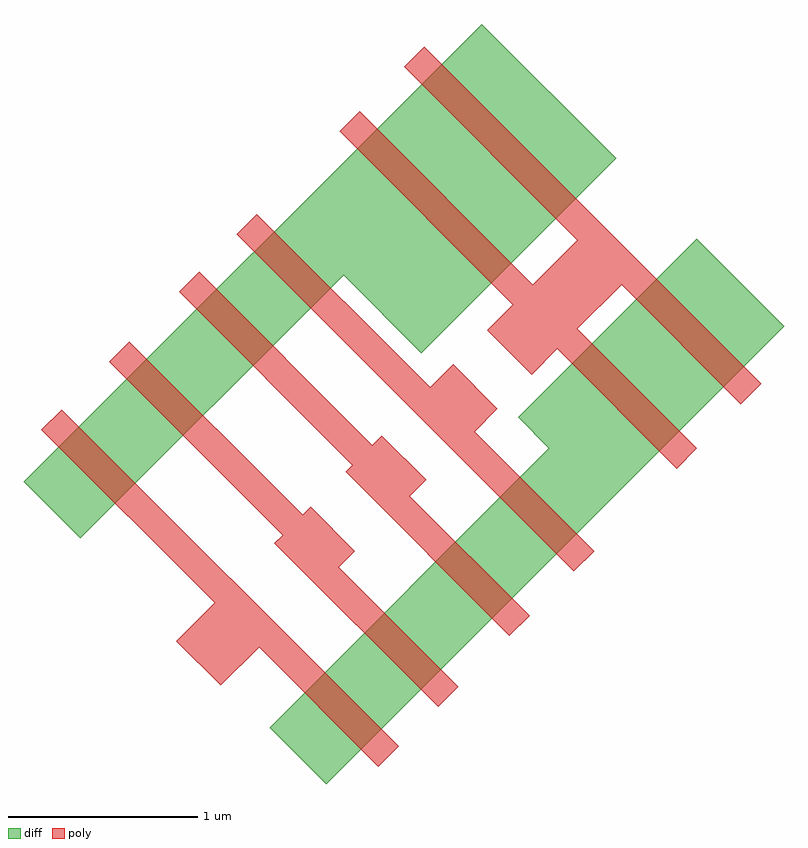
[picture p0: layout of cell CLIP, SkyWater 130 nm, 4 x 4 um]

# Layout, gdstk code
import gdstk
lib = gdstk.Library(unit=1e-6, precision=1e-09)
def P(c, l, *ps):  # polygons
    for p in ps: c.add(gdstk.Polygon(p, *l))
diff = (65, 20)
poly = (66, 20)

clip = lib.new_cell('CLIP')
P(clip, diff, [(28.496,1436.707),(28.199,1437.004),(29.67,1438.474),(29.508,1438.637),(30.448,1439.577),(30.908,1439.118)],
  [(27.202,1438.001),(26.905,1438.298),(29.317,1440.709),(30.024,1440.002),(28.998,1438.976),(28.588,1439.387)])
P(clip, poly, [(28.772,1436.799),(28.143,1437.428),(27.941,1437.226),(27.708,1437.46),(27.91,1437.661),(26.997,1438.573),(27.103,1438.679),(28.878,1436.905)],
  [(29.087,1437.113),(28.224,1437.976),(28.267,1438.018),(27.354,1438.93),(27.46,1439.037),(28.373,1438.124),(28.415,1438.167),(28.648,1437.933),(28.564,1437.849),(29.193,1437.219)],
  [(29.462,1437.488),(28.599,1438.351),(28.634,1438.386),(27.722,1439.298),(27.828,1439.404),(28.74,1438.492),(28.79,1438.542),(29.023,1438.308),(28.938,1438.223),(29.568,1437.594)],
  [(29.801,1437.827),(28.026,1439.602),(28.132,1439.708),(29.044,1438.796),(29.165,1438.916),(29.398,1438.683),(29.278,1438.563),(29.907,1437.933)],
  [(30.342,1438.368),(29.713,1438.998),(29.578,1438.863),(29.345,1439.097),(29.479,1439.231),(28.567,1440.143),(28.673,1440.249),(29.585,1439.337),(29.819,1439.57),(28.907,1440.483),(29.013,1440.589),(30.787,1438.814),(30.681,1438.708),(30.052,1439.337),(29.819,1439.104),(30.448,1438.474)])

lib.write_gds('CLIP.gds')
